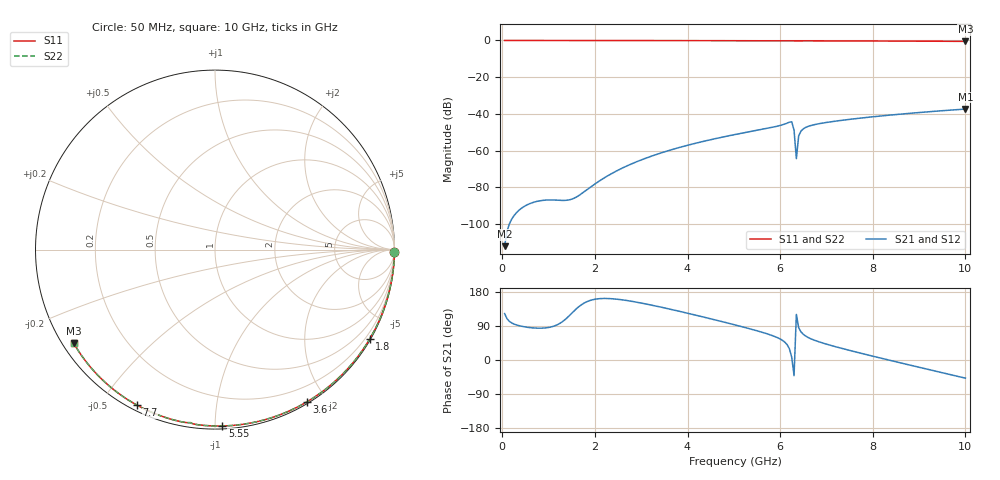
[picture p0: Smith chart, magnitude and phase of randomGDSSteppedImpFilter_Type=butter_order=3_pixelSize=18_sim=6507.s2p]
! freq	dB(S11)	phase(S11)	dB(S12)	phase(S12)
!  dB(S21)	phase(S21)	dB(S22)	phase(S22)
!S-par simulation data
#  GHz  S  DB  R 50
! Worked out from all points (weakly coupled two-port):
!   200 points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, 50 MHz to 10 GHz, reference 50 ohm
!   highest |S21| = -37.38 dB at 10 GHz (marker M1); lowest = -112.1 dB at 50 MHz (marker M2)
!   lowest |S11| = -0.5 dB at 10 GHz (marker M3), VSWR 34.98, Z = 1.56 - j15.1 ohm
!   |S11| at or under -10 dB: nowhere
!   |S22| runs from -0.5 to 0.0 dB; largest |S21 - S12| = 0
!   S11 on the Smith chart (normalised r, x): 50 MHz: open; 1.8 GHz: 0.03, -3.71; 3.6 GHz: 0.02, -1.77; 5.55 GHz: 0.02, -1.04; 7.7 GHz: 0.02, -0.62; 10 GHz: 0.03, -0.30
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0.05  -0.00 -0.9  -112.10 122.4  -112.10 122.4  -0.00 -0.9
0.9  -0.02 -15.2  -87.07 84.3  -87.07 84.3  -0.02 -15.2
1.75  -0.04 -29.3  -82.81 149.1  -82.81 149.1  -0.04 -29.3
1.8  -0.04 -30.2  -81.88 152.4  -81.88 152.4  -0.04 -30.2
1.9  -0.04 -31.8  -80.03 157.3  -80.03 157.3  -0.04 -31.8
2.3  -0.05 -38.3  -73.41 162.2  -73.41 162.2  -0.05 -38.3
2.7  -0.06 -44.7  -68.26 156.8  -68.26 156.8  -0.06 -44.7
3.4  -0.07 -55.7  -61.52 140.2  -61.52 140.2  -0.07 -55.7
3.6  -0.08 -58.8  -59.95 134.8  -59.95 134.8  -0.08 -58.8
4.25  -0.10 -68.7  -55.54 116.2  -55.54 116.2  -0.10 -68.7
5.05  -0.12 -80.4  -51.14 91.9  -51.14 91.9  -0.12 -80.4
5.55  -0.14 -87.6  -48.72 75.4  -48.72 75.4  -0.14 -87.6
6.25  -0.20 -97.5  -44.35 7.1  -44.35 7.1  -0.20 -97.5
6.3  -0.23 -98.0  -48.84 -41.2  -48.84 -41.2  -0.23 -98.0
6.35  -0.22 -98.5  -64.41 120.3  -64.41 120.3  -0.22 -98.5
6.4  -0.20 -99.2  -52.00 85.0  -52.00 85.0  -0.20 -99.2
6.45  -0.20 -99.9  -49.37 74.2  -49.37 74.2  -0.20 -99.9
6.55  -0.20 -101.3  -47.42 63.3  -47.42 63.3  -0.20 -101.3
6.7  -0.20 -103.4  -46.13 54.1  -46.13 54.1  -0.20 -103.4
7.7  -0.27 -116.7  -42.41 19.1  -42.41 19.1  -0.27 -116.7
8.35  -0.32 -125.1  -40.73 -0.3  -40.73 -0.3  -0.32 -125.1
10  -0.50 -146.4  -37.38 -47.9  -37.38 -47.9  -0.50 -146.4
